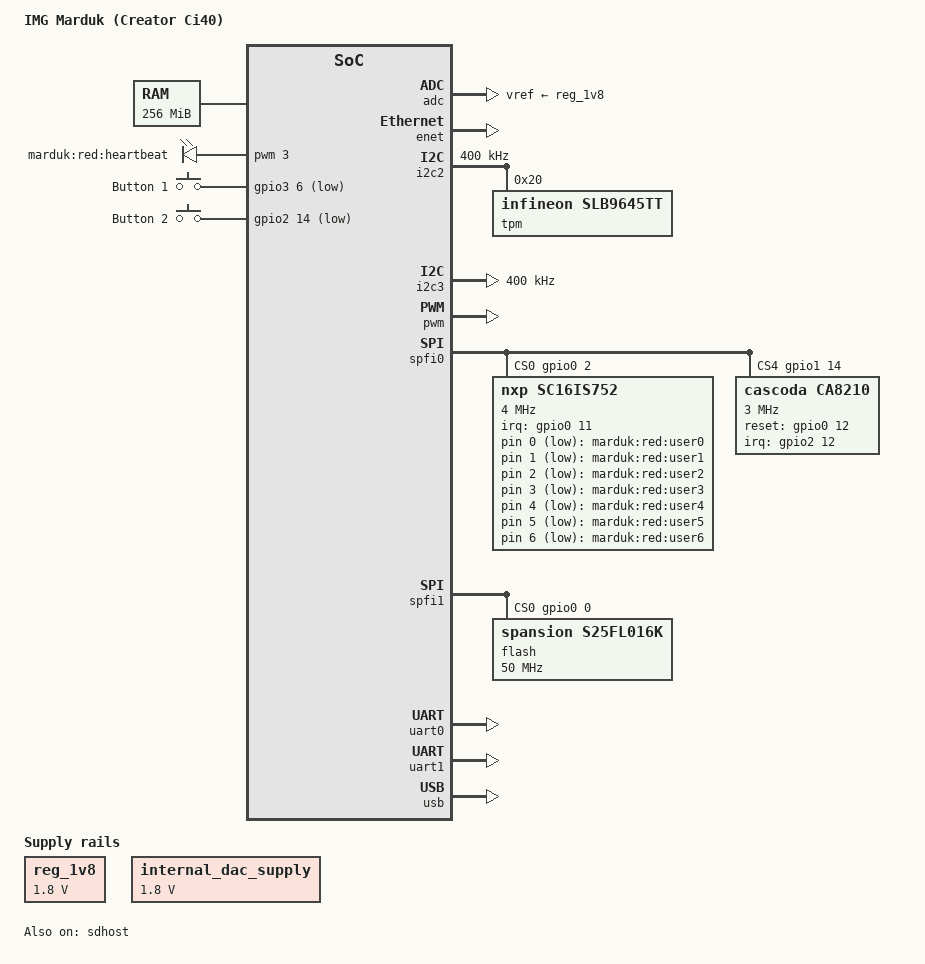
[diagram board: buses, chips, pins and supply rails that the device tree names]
/*
 * Copyright (C) 2015, 2016 Imagination Technologies Ltd.
 *
 * This program is free software; you can redistribute it and/or modify
 * it under the terms of the GNU General Public License version 2 as
 * published by the Free Software Foundation.
 *
 * IMG Marduk board is also known as Creator Ci40.
 */

/dts-v1/;

#include "pistachio.dtsi"

/ {
	model = "IMG Marduk (Creator Ci40)";
	compatible = "img,pistachio-marduk", "img,pistachio";

	aliases {
		serial0 = &uart0;
		serial1 = &uart1;
		ethernet0 = &enet;
		spi0 = &spfi0;
		spi1 = &spfi1;
	};

	chosen {
		bootargs = "root=/dev/sda1 rootwait ro lpj=723968";
		stdout-path = "serial1:115200";
	};

	memory {
		device_type = "memory";
		reg =  <0x00000000 0x10000000>;
	};

	reg_1v8: fixed-regulator {
		compatible = "regulator-fixed";
		regulator-name = "aux_adc_vref";
		regulator-min-microvolt = <1800000>;
		regulator-max-microvolt = <1800000>;
		regulator-boot-on;
	};

	internal_dac_supply: internal-dac-supply {
		compatible = "regulator-fixed";
		regulator-name = "internal_dac_supply";
		regulator-min-microvolt = <1800000>;
		regulator-max-microvolt = <1800000>;
	};

	leds {
		compatible = "pwm-leds";

		heartbeat {
			label = "marduk:red:heartbeat";
			pwms = <&pwm 3 300000>;
			max-brightness = <255>;
			linux,default-trigger = "heartbeat";
		};
	};

	gpio-leds {
		compatible = "gpio-leds";

		led0 {
			label = "marduk:red:user0";
			gpios = <&sc16is752 0 GPIO_ACTIVE_LOW>;
			default-state = "off";
		};

		led1 {
			label = "marduk:red:user1";
			gpios = <&sc16is752 1 GPIO_ACTIVE_LOW>;
			default-state = "off";
		};

		led2 {
			label = "marduk:red:user2";
			gpios = <&sc16is752 2 GPIO_ACTIVE_LOW>;
			default-state = "off";
		};

		led3 {
			label = "marduk:red:user3";
			gpios = <&sc16is752 3 GPIO_ACTIVE_LOW>;
			default-state = "off";
		};

		led4 {
			label = "marduk:red:user4";
			gpios = <&sc16is752 4 GPIO_ACTIVE_LOW>;
			default-state = "off";
		};

		led5 {
			label = "marduk:red:user5";
			gpios = <&sc16is752 5 GPIO_ACTIVE_LOW>;
			default-state = "off";
		};

		led6 {
			label = "marduk:red:user6";
			gpios = <&sc16is752 6 GPIO_ACTIVE_LOW>;
			default-state = "off";
		};
	};

	keys {
		compatible = "gpio-keys";

		button@1 {
			label = "Button 1";
			linux,code = <0x101>; /* BTN_1 */
			gpios = <&gpio3 6 GPIO_ACTIVE_LOW>;
		};

		button@2 {
			label = "Button 2";
			linux,code = <0x102>; /* BTN_2 */
			gpios = <&gpio2 14 GPIO_ACTIVE_LOW>;
		};
	};
};

&adc {
	status = "okay";
	vref-supply = <&reg_1v8>;
	adc-reserved-channels = <0x10>;
};

&enet {
	status = "okay";
};

&i2c2 {
	status = "okay";
	clock-frequency = <400000>;

	tpm@20 {
		compatible = "infineon,slb9645tt";
		reg = <0x20>;
	};
};

&i2c3 {
	status = "okay";
	clock-frequency = <400000>;
};

&internal_dac {
	VDD-supply = <&internal_dac_supply>;
};

&pin_enet {
	drive-strength = <2>;
};

&pin_enet_phy_clk {
	drive-strength = <2>;
};

&pin_sdhost_cmd {
	drive-strength = <2>;
};

&pin_sdhost_data {
	drive-strength = <2>;
	pins = "mfio17", "mfio18", "mfio19", "mfio20";
};

&pin_spim0 {
	drive-strength = <2>;
};

&pin_spim0_clk {
	drive-strength = <2>;
};

&pwm {
	status = "okay";

	pinctrl-0 = <&pwmpdm0_pin>, <&pwmpdm1_pin>, <&pwmpdm2_pin>,
		    <&pwmpdm3_pin>;
	pinctrl-names = "default";
};

&sdhost {
	status = "okay";
	bus-width = <1>;
	disable-wp;
};

&spfi0 {
	status = "okay";

	pinctrl-0 = <&spim0_pins>,
		    <&spim0_cs0_alt_pin>,
		    <&spim0_cs2_alt_pin>,
		    <&spim0_cs3_alt_pin>,
		    <&spim0_cs4_alt_pin>;
	pinctrl-names = "default";
	cs-gpios = <&gpio0 2 GPIO_ACTIVE_HIGH>, <0>,
		   <&gpio1 12 GPIO_ACTIVE_HIGH>,
		   <&gpio1 13 GPIO_ACTIVE_HIGH>,
		   <&gpio1 14 GPIO_ACTIVE_HIGH>;

	sc16is752: uart@0 {
		compatible = "nxp,sc16is752";
		reg = <0>;
		spi-max-frequency = <4000000>;
		interrupt-parent = <&gpio0>;
		interrupts = <11 IRQ_TYPE_EDGE_FALLING>;
		clocks = <&ca8210>;

		gpio-controller;
		#gpio-cells = <2>;
	};

	ca8210: sixlowpan@4 {
		compatible = "cascoda,ca8210";
		reg = <4>;
		spi-max-frequency = <3000000>;
		spi-cpol;
		reset-gpio = <&gpio0 12 GPIO_ACTIVE_HIGH>;
		irq-gpio = <&gpio2 12 GPIO_ACTIVE_HIGH>;

		extclock-enable;
		extclock-freq = <16000000>;
		extclock-gpio = <2>; /* spiuart_clk */
		#clock-cells = <0>;
	};
};

&spfi1 {
	status = "okay";

	pinctrl-0 = <&spim1_pins>, <&spim1_quad_pins>, <&spim1_cs0_pin>,
		    <&spim1_cs1_pin>;
	pinctrl-names = "default";
	cs-gpios = <&gpio0 0 GPIO_ACTIVE_HIGH>, <&gpio0 1 GPIO_ACTIVE_HIGH>;

	flash@0 {
		compatible = "spansion,s25fl016k", "jedec,spi-nor";
		reg = <0>;
		spi-max-frequency = <50000000>;
	};
};

&uart0 {
	status = "okay";
	assigned-clock-rates = <114278400>, <1843200>;
};

&uart1 {
	status = "okay";
};

&usb {
	status = "okay";
};
